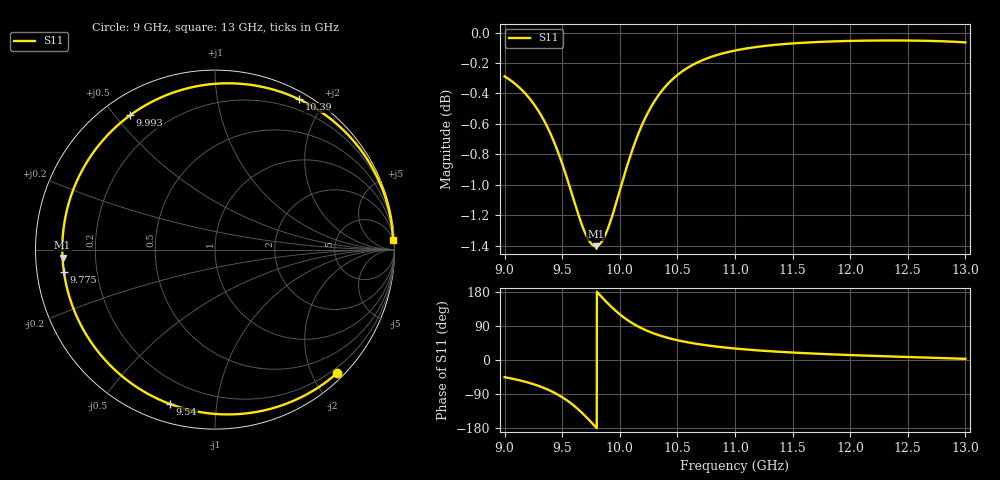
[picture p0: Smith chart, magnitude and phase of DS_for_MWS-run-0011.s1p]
! TOUCHSTONE file generated by CST DESIGN STUDIO
! Date and time: Tue Feb  4 18:42:48 2025
! Project name: C:\Work\MatlabApps\UnitCellOptimizationMatlab\CST\unitcell.cst
! Tree item: Tasks\Sweep1\SPara1\S-Parameters
! Header version: 2024
! Port assignment regex: !\s*Touchstone port\s*([0-9]+)\s*=\s*(CST MWS port|CST DES external port|CST DES block port)\s*(.+)\s* \(\"(.*)\"\)(\s*mode\s*([0-9]+))?.*
! Touchstone port assignment:
! Touchstone port 1 = CST DES external port 1 ("")
# GHz S MA R 50
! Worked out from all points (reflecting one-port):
!   4001 points, 9 GHz to 13 GHz, reference 50 ohm
!   lowest |S11| = -1.4 dB at 9.791 GHz (marker M1), VSWR 12.40, Z = 4.04 - j1.32 ohm
!   phase of S11 starts at -45 deg and turns -312 deg over the sweep
!   S11 on the Smith chart (normalised r, x): 9 GHz: 0.11, -2.39; 9.54 GHz: 0.09, -0.75; 9.775 GHz: 0.08, -0.07; 9.993 GHz: 0.08, +0.55; 10.39 GHz: 0.08, +1.70; 13 GHz: 5, +36
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9  0.9674 -45.3
9.144  0.958 -54.7
9.275  0.9448 -66.3
9.389  0.928 -80.0
9.448  0.9168 -89.0
9.5  0.9055 -98.2
9.54  0.896 -106.3
9.598  0.8816 -119.6
9.654  0.8682 -134.4
9.719  0.856 -153.7
9.775  0.851 -171.7
9.791  0.8507 -176.9
9.835  0.8529 168.6
9.88  0.859 154.3
9.938  0.8714 137.0
9.993  0.8856 122.2
10  0.8874 120.5
10.071  0.9059 104.4
10.152  0.9245 89.5
10.265  0.9444 73.6
10.388  0.9592 60.9
10.5  0.9684 52.2
10.717  0.9793 40.3
11  0.9865 30.3
11.5  0.9919 19.7
12  0.9937 13.0
12.5  0.994 7.9
13  0.9926 3.1
